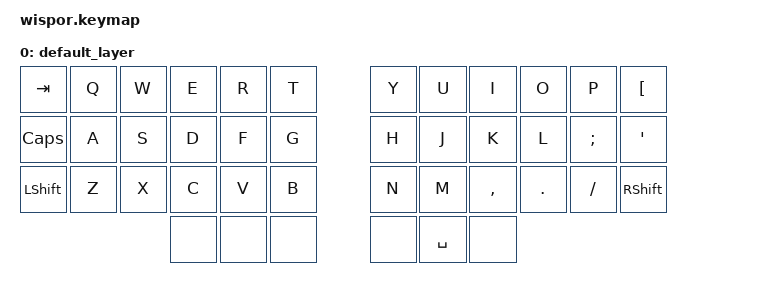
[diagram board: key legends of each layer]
#include <behaviors.dtsi>
#include <dt-bindings/zmk/keys.h>
#include <dt-bindings/zmk/bt.h>

/ {
    keymap {
        compatible = "zmk,keymap";

        default_layer { // Layer 0
            bindings = <
            //╭───────────┬───────────┬───────────┬───────────┬───────────┬───────────╮   ╭───────────┬───────────┬───────────┬───────────┬───────────┬───────────╮
            //| Tab       | Q         | W         | E         | R         | T         |   | Y         | U         | I         | O         | P         | [         |
                &kp TAB     &kp Q       &kp W      &kp E       &kp R        &kp T           &kp Y       &kp U       &kp I       &kp O       &kp P       &kp LBKT
            //├───────────┼───────────┼───────────┼───────────┼───────────┼───────────┤   ├───────────┼───────────┼───────────┼───────────┼───────────┼───────────┤
            //| Caps Lock | A         | S         | D         | F         | G         |   | H         | J         | K         | L         | ;         | '         |
                &kp CAPS    &kp A       &kp S       &kp D       &kp F       &kp G           &kp H       &kp J       &kp K       &kp L       &kp SEMI    &kp APOS
            //├───────────┼───────────┼───────────┼───────────┼───────────┼───────────┤   ├───────────┼───────────┼───────────┼───────────┼───────────┼───────────┤
            //| L Shift   | Z         | X         | C         | V         | B         |   | N         | M         | ,         | .         | /         | R Shift   |
                &kp LSHIFT  &kp Z       &kp X       &kp C       &kp V       &kp B           &kp N       &kp M       &kp COMMA   &kp DOT     &kp FSLH    &kp RSHIFT
            //╰───────────┴───────────┴───────────┼───────────┼───────────┼───────────┤   ├───────────┼───────────┼───────────┼───────────┴───────────┴───────────╯
            //                                    |           |           |           |   |           | Space     |           |
                                                    &none       &none       &none           &none       &kp SPACE   &none
            //                                    ╰───────────┴───────────┴───────────╯   ╰───────────┴───────────┴───────────╯
            >;
        };
    };
};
